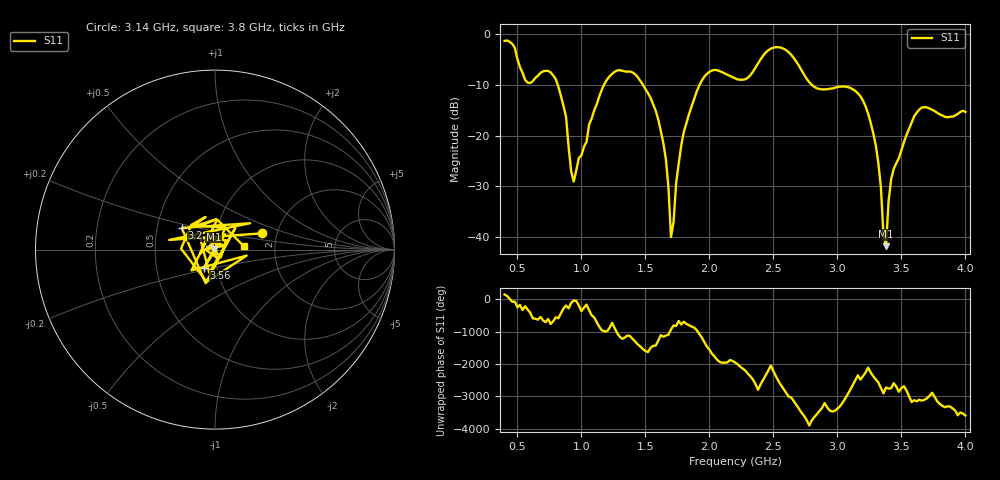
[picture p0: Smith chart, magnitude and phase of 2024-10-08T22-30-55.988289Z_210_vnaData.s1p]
! Created with skrf (http://scikit-rf.org).
# Hz S RI R 50.0
!freq ReS11 ImS11
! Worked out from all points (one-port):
!   181 points, 400 MHz to 4 GHz, reference 50 ohm
!   lowest |S11| = -41.8 dB at 3.38 GHz (marker M1), VSWR 1.02, Z = 49.3 + j0.39 ohm
!   |S11| at or under -10 dB: 815 MHz to 1.176 GHz (361.3 MHz wide, 36.3 % of centre); 1.482 GHz to 1.923 GHz (441.8 MHz wide, 26 % of centre); 2.801 GHz to end of sweep
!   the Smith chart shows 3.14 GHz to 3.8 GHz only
!   S11 on the Smith chart (normalised r, x): 3.14 GHz: 1.67, +0.33; 3.2 GHz: 0.67, +0.17; 3.56 GHz: 0.87, -0.18; 3.8 GHz: 1.38, +0.05
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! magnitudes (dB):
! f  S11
! 400 MHz  -1.3
! 580 MHz  -9.5
! 760 MHz  -7.5
! 860 MHz  -14.2
! 940 MHz  -29.0
! 1.16 GHz  -10.9
! 1.3 GHz  -7.1
! 1.58 GHz  -15.0
! 1.66 GHz  -24.6
! 1.7 GHz  -40.0
! 1.76 GHz  -25.5
! 1.84 GHz  -15.8
! 1.96 GHz  -8.4
! 2.2 GHz  -8.7
! 2.5 GHz  -2.7
! 2.66 GHz  -4.7
! 2.84 GHz  -10.7
! 3.1 GHz  -10.6
! 3.14 GHz  -11.2
! 3.2 GHz  -13.1
! 3.3 GHz  -21.9
! 3.36 GHz  -39.6
! 3.38 GHz  -41.8
! 3.42 GHz  -28.6
! 3.56 GHz  -18.6
! 3.66 GHz  -14.5
! 3.8 GHz  -15.8
! 4 GHz  -15.3
